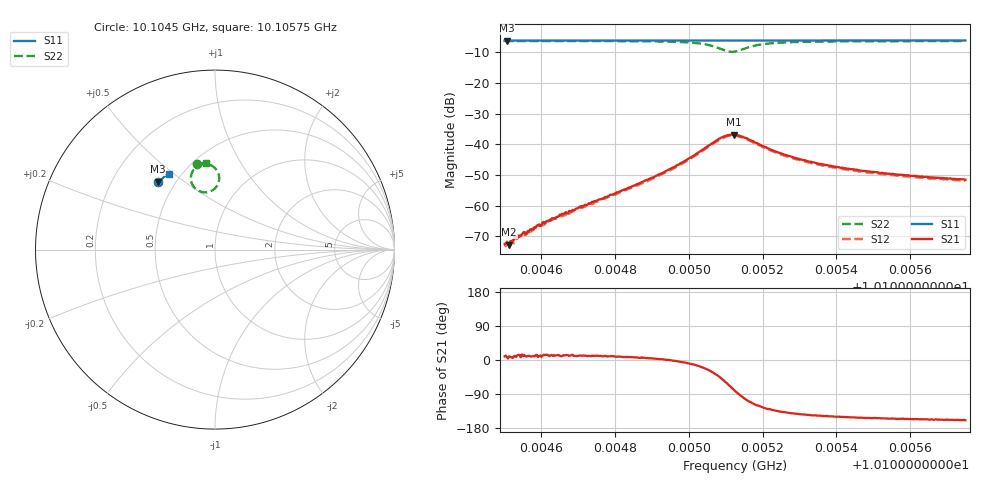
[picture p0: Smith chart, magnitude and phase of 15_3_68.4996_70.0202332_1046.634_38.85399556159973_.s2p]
#  HZ  S  RI  R  50.00
! Rohde & Schwarz Vector Network Analyzer
! Rohde-Schwarz,ZNB20-2Port,1311601062101988,3.16
! Created: UTC 3/20/2024, 4:49:11 PM
! freq[Hz]  re:S11  im:S11  re:S21  im:S21  re:S12  im:S12  re:S22  im:S22
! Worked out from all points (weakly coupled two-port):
!   401 points, 10.1045 GHz to 10.10575 GHz, reference 50 ohm
!   highest |S21| = -36.82 dB at 10.10512 GHz (marker M1); lowest = -72.8 dB at 10.10451 GHz (marker M2)
!   lowest |S11| = -6.1 dB at 10.10451 GHz (marker M3), VSWR 2.94, Z = 20.2 + j20.1 ohm
!   |S11| at or under -10 dB: nowhere
!   |S22| runs from -9.8 to -6.3 dB; largest |S21 - S12| = 0.0016
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1.0104501e10  -0.3168 0.3775  0.000232 4e-05  0.000232 3.09e-05  -0.0976 0.4753
1.0104507e10  -0.3165 0.3776  0.000244 2.95e-05  0.000246 7.8e-05  -0.0969 0.4755
1.0104513e10  -0.3161 0.378  0.000225 3.85e-05  0.000232 4.59e-05  -0.0964 0.4755
1.0104532e10  -0.3152 0.3786  0.000302 4.37e-05  0.000282 8.81e-05  -0.0946 0.4758
1.0104538e10  -0.3149 0.379  0.000313 7.66e-05  0.000294 7.03e-05  -0.0942 0.476
1.0104566e10  -0.3136 0.3802  0.000358 7.24e-05  0.00039 0.000125  -0.0914 0.4766
1.010461e10  -0.3116 0.382  0.0005 0.000118  0.00047 0.000159  -0.0872 0.4771
1.0104629e10  -0.3107 0.3827  0.000605 0.000136  0.000554 0.000175  -0.0853 0.4775
1.010471e10  -0.307 0.3861  0.000972 0.000188  0.000871 0.000267  -0.076 0.4786
1.0104919e10  -0.297 0.3942  0.00323 0.000133  0.00305 0.000401  -0.0377 0.476
1.0104994e10  -0.2934 0.3971  0.00554 -0.000744  0.00531 -0.000212  -0.00895 0.4623
1.0105069e10  -0.2894 0.3996  0.00896 -0.00633  0.00915 -0.00518  0.0233 0.3935
1.0105097e10  -0.2881 0.4001  0.00755 -0.0112  0.00833 -0.0101  -0.000587 0.3411
1.0105122e10  -0.2873 0.4007  0.00286 -0.0141  0.00411 -0.0132  -0.0586 0.3189
1.0105125e10  -0.2872 0.4009  0.00207 -0.0141  0.00341 -0.0135  -0.0664 0.3197
1.010516e10  -0.2861 0.4023  -0.00367 -0.0117  -0.00243 -0.0116  -0.1246 0.3595
1.0105203e10  -0.2841 0.4042  -0.00543 -0.00745  -0.00457 -0.0077  -0.133 0.4122
1.0105263e10  -0.2813 0.4065  -0.00498 -0.00447  -0.00443 -0.00467  -0.1185 0.4459
1.0105334e10  -0.2778 0.4092  -0.00423 -0.00286  -0.0038 -0.00313  -0.1015 0.4625
1.0105434e10  -0.273 0.4131  -0.00348 -0.00192  -0.00315 -0.00211  -0.0849 0.4724
1.0105543e10  -0.2674 0.417  -0.003 -0.00141  -0.00273 -0.00158  -0.0713 0.4777
1.0105749e10  -0.2571 0.4239  -0.00246 -0.000951  -0.00225 -0.00113  -0.0515 0.483
